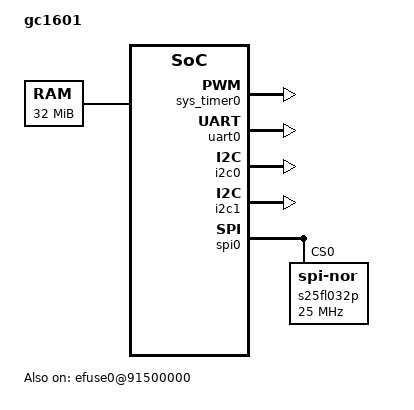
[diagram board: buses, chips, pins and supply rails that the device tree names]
/*
 * Copyright (C) 2020 Faraday, Inc. (www.faraday-tech.com)
 *
 * This program is free software; you can redistribute it and/or modify
 * it under the terms of the GNU General Public License version 2 as
 * published by the Free Software Foundation.
 */
 
 /dts-v1/;
 
 #include <dt-bindings/interrupt-controller/irq.h>
 #include <dt-bindings/pinctrl/pinctrl-gc1601.h>
 
 / {
	model = "gc1601";
	compatible = "arm,faraday-soc";
	#address-cells = <1>;
	#size-cells = <1>;
	
	aliases {
		serial0 = &uart0;
		i2c010_0 = &i2c0;
		i2c010_1 = &i2c1;
	};
	
	cpus {
		#address-cells = <1>;
		#size-cells = <0>;
	};
	
	memory@40000000 {
		device_type = "memory";
		reg = <0x40000000 0x02000000>;
	};
	
	chosen {
		bootargs = "mem=32M console=ttyS0,115200 earlycon=uart8250,mmio32,0x90400000";
	};
	
	clocks {
		compatible = "faraday,gc1601-clk";
	
		osc0: osc0-25mhz {
			#clock-cells = <0>;
			compatible = "gc1601,osc0";
			clock-frequency = <25000000>;
			clock-output-names = "osc0";
		};
	
		pll0_ckout1: pll0_ckout1 {
			#clock-cells = <0>;
			compatible = "gc1601,pll0_ckout1";
			clock-div = <3>;
			clock-output-names = "pll0_ckout1";
			clocks = <&osc0>;
		};
	
		pll0_ckout2: pll0_ckout2 {
			#clock-cells = <0>;
			compatible = "gc1601,pll0_ckout2";
			clock-div = <4>;
			clock-output-names = "pll0_ckout2";
			clocks = <&osc0>;
		};
	
		pll0_ckout3: pll0_ckout3 {
			#clock-cells = <0>;
			compatible = "gc1601,pll0_ckout3";
			clock-div = <5>;
			clock-output-names = "pll0_ckout3";
			clocks = <&osc0>;
		};
	
		axi: axi {
			#clock-cells = <0>;
			compatible = "gc1601,axi";
			clock-mult = <1>;
			clock-div = <4>;
			clock-output-names = "AXI";
			clocks = <&pll0_ckout1>;
		};
	
		aclk: aclk {
			#clock-cells = <0>;
			compatible = "gc1601,aclk";
			clock-mult = <1>;
			clock-div = <4>;
			clock-output-names = "aclk";
			clocks = <&pll0_ckout1>;
		};
	
		apb: apb {
			#clock-cells = <0>;
			compatible = "gc1601,apb";
			clock-mult = <1>;
			clock-div = <8>;
			clock-output-names = "APB";
			clocks = <&pll0_ckout1>;
		};
	
		pclk: pclk {
			#clock-cells = <0>;
			compatible = "gc1601,pclk";
			clock-mult = <1>;
			clock-div = <8>;
			clock-output-names = "pclk";
			clocks = <&pll0_ckout1>;
		};
	
		cpu: cpu {
			#clock-cells = <0>;
			compatible = "gc1601,cpu";
			clock-mult = <1>;
			clock-div = <1>;
			clock-output-names = "cpu";
			clocks = <&pll0_ckout1>;
		};
	
		ddrmclk: ddrmclk {
			#clock-cells = <0>;
			compatible = "gc1601,ddrmclk";
			clock-mult = <1>;
			clock-div = <1>;
			clock-output-names = "ddrmclk";
			clocks = <&pll0_ckout1>, <&pll0_ckout3>, <&pll0_ckout2>;
		};
	
		spiclk: spiclk {
			#clock-cells = <0>;
			compatible = "gc1601,spiclk";
			clock-mult = <1>;
			clock-div = <8>;
			clock-output-names = "spiclk";
			clocks = <&pll0_ckout2>;
		};
	};
	
	pinctrl {
			compatible = "pinctrl-gc1601", "ftscu010-pinmux";
			reg = <0x90a00000 0x1000>;
			statis = "disabled";
			
			pinctrl_clk_gen: pinctrl_clk_gen {
				scu010,function = <GC1601_MUX_CLK_GEN>;
			};
			
			pinctrl_fa626te55ee1001hh0lg: pinctrl_fa626te55ee1001hh0lg {
				scu010,function = <GC1601_MUX_FA626TE55EE1001HH0LG>;
			};
			
			pinctrl_ftgpio010: pinctrl_ftgpio010 {
				scu010,function = <GC1601_MUX_FTGPIO010>;
			};
			
			pinctrl_ftiic010: pinctrl_ftiic010 {
				scu010,function = <GC1601_MUX_FTIIC010>;
			};
			
			pinctrl_ftiic010_1: pinctrl_ftiic010_1 {
				scu010,function = <GC1601_MUX_FTIIC010_1>;
			};
			
			pinctrl_ftuart010: pinctrl_ftuart010 {
				scu010,function = <GC1601_MUX_FTUART010>;
			};
			
			pinctrl_gc1601_top: pinctrl_gc1601_top {
				scu010,function = <GC1601_MUX_GC1601_TOP>;
			};
			
			pinctrl_sysc: pinctrl_sysc {
				scu010,function = <GC1601_MUX_SYSC>;
			};
	};
	
	soc {
		#address-cells = <1>;
		#size-cells = <1>;
		compatible = "simple-bus";
		ranges;
	
		intc: interrupt-controller@96000000 {
			compatible = "faraday,ftintc030";
			interrupt-controller;
			#interrupt-cells = <2>;
			#address-cells = <1>;
			cpu-match-id = <0x001>;
			cpu-match-mask = <0x001>;
			reg = <0x96000000 0x1000>;
		};
	
		sys_timer0: timer@90200000 {
			compatible = "faraday,fttmr010";
			interrupt-parent = <&intc>;
			interrupts = <39 IRQ_TYPE_LEVEL_HIGH>;
			reg = <0x90200000 0x100>;
			clocks = <&apb>;
			clock-names = "APB";
			status = "okay";
		};
	
		sys_timer1: timer@90300000 {
			compatible = "faraday,fttmr010";
			interrupt-parent = <&intc>;
			interrupts = <43 IRQ_TYPE_LEVEL_HIGH>;
			reg = <0x90300000 0x100>;
			clocks = <&apb>;
			clock-names = "APB";
			status = "disabled";
		};
	
		uart0: uart@90400000 {
			compatible = "of_serial", "ns16550a";
			interrupt-parent = <&intc>;
			clock-frequency = <33000000>;
			reg = <0x90400000 0x1000>;
			reg-offset = <0>;
			reg-shift = <2>;
			reg-io-width = <4>;
			no-loopback-test;
			interrupts = <44 IRQ_TYPE_LEVEL_HIGH>;
			pinctrl-0 = <&pinctrl_ftuart010>;
			pinctrl-names = "default";
			status = "okay";
		};
	
		efuse0@91500000 {
			compatible = "faraday,ftc-efuse";
			interrupt-parent = <&intc>;
			reg = <0x91500000 0x10000>;
			efuse-size = <8>;
			status = "okay";
		};
	
		gpio@90900000 {
			compatible = "faraday,ftgpio010";
			interrupt-parent = <&intc>;
			reg = <0x90900000 0x1000>;
			dev_id = <0>;
			interrupts = <33 IRQ_TYPE_LEVEL_HIGH>;
			pinctrl-0 = <&pinctrl_ftgpio010>;
			pinctrl-names = "default";
			status = "disabled";
		};
	
		i2c0: i2c@90600000 {
			compatible = "faraday,ftiic010";
			interrupt-parent = <&intc>;
			reg = <0x90600000 0x1000>;
			dev_id = <0>;
			interrupts = <34 IRQ_TYPE_LEVEL_HIGH>;
			clocks = <&pclk>;
			clock-names = "pclk";
			pinctrl-0 = <&pinctrl_ftiic010>;
			pinctrl-names = "default";
			status = "okay";
		};
	
		i2c1: i2c@90700000 {
			compatible = "faraday,ftiic010";
			interrupt-parent = <&intc>;
			reg = <0x90700000 0x1000>;
			dev_id = <1>;
			interrupts = <35 IRQ_TYPE_LEVEL_HIGH>;
			clocks = <&pclk>;
			clock-names = "pclk";
			pinctrl-0 = <&pinctrl_ftiic010_1>;
			pinctrl-names = "default";
			status = "okay";
		};
	
		wdt0: wdt@90800000 {
			compatible = "faraday,ftwdt010";
			interrupt-parent = <&intc>;
			reg = <0x90800000 0x1000>;
			interrupts = <45 IRQ_TYPE_EDGE_RISING>;
			clocks = <&pclk>;
			clock-names = "pclk";
			status = "disabled";
		};
	
		spi0: spi@a0000000 {
			compatible = "faraday,ftspi020";
			interrupt-parent = <&intc>;
			reg = <0xa0000000 0x1000>;
			reg-names = "ctrl-port";
			interrupts = <46 IRQ_TYPE_LEVEL_HIGH>;
			clocks = <&spiclk>;
			clock-names = "spiclk";
			status = "okay";

			#address-cells = <1>;
			#size-cells = <0>;
			s25fl032p: flash@0 { //0x010215
				compatible = "jedec,spi-nor";
				spi-max-frequency = <25000000>;
				spi-tx-bus-width = <2>;
				spi-rx-bus-width = <2>;
				reg = <0x0>;
				is-nand = <0>;
			};
		};
	};
};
